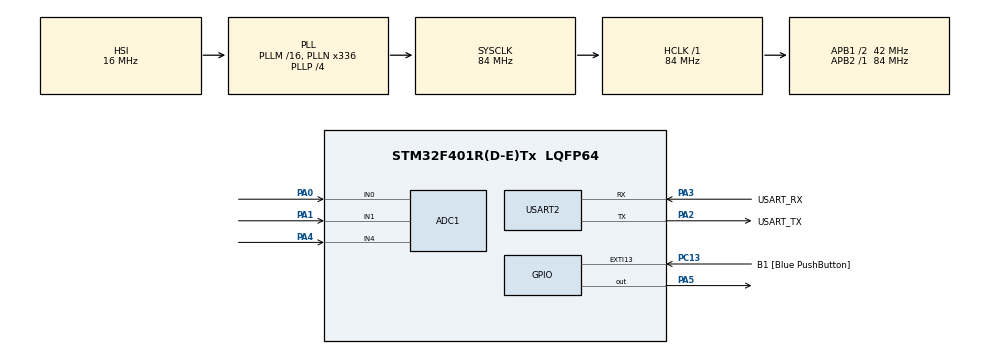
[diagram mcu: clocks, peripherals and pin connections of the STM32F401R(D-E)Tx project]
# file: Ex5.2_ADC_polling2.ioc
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ADC1.Channel-1\#ChannelRegularConversion=ADC_CHANNEL_0
ADC1.Channel-2\#ChannelRegularConversion=ADC_CHANNEL_0
ADC1.Channel-3\#ChannelRegularConversion=ADC_CHANNEL_0
ADC1.ContinuousConvMode=ENABLE
ADC1.NbrOfConversion=3
ADC1.NbrOfConversionFlag=1
ADC1.Rank-1\#ChannelRegularConversion=1
ADC1.Rank-2\#ChannelRegularConversion=2
ADC1.Rank-3\#ChannelRegularConversion=3
ADC1.SamplingTime-1\#ChannelRegularConversion=ADC_SAMPLETIME_84CYCLES
ADC1.SamplingTime-2\#ChannelRegularConversion=ADC_SAMPLETIME_84CYCLES
ADC1.SamplingTime-3\#ChannelRegularConversion=ADC_SAMPLETIME_84CYCLES
ADC1.ScanConvMode=ENABLE
ADC1.master=1
Mcu.Family=STM32F4
Mcu.Name=STM32F401R(D-E)Tx
Mcu.Package=LQFP64
NVIC.PriorityGroup=NVIC_PRIORITYGROUP_4
PA0-WKUP.Signal=ADCx_IN0
PA1.Signal=ADCx_IN1
PA13.GPIO_Label=TMS
PA13.Mode=Trace_Asynchronous_SW
PA13.Signal=SYS_JTMS-SWDIO
PA14.GPIO_Label=TCK
PA14.Mode=Trace_Asynchronous_SW
PA14.Signal=SYS_JTCK-SWCLK
PA2.GPIO_Label=USART_TX
PA2.GPIO_Mode=GPIO_MODE_AF_PP
PA2.GPIO_PuPd=GPIO_NOPULL
PA2.GPIO_Speed=GPIO_SPEED_FREQ_LOW
PA2.Mode=Asynchronous
PA2.Signal=USART2_TX
PA3.GPIO_Label=USART_RX
PA3.GPIO_Mode=GPIO_MODE_AF_PP
PA3.GPIO_PuPd=GPIO_NOPULL
PA3.GPIO_Speed=GPIO_SPEED_FREQ_LOW
PA3.Mode=Asynchronous
PA3.Signal=USART2_RX
PA4.Signal=ADCx_IN4
PA5.Signal=GPIO_Output
PB3.GPIO_Label=SWO
PB3.Mode=Trace_Asynchronous_SW
PB3.Signal=SYS_JTDO-SWO
PC13-ANTI_TAMP.GPIO_Label=B1 [Blue PushButton]
PC13-ANTI_TAMP.GPIO_ModeDefaultEXTI=GPIO_MODE_IT_FALLING
PC13-ANTI_TAMP.GPIO_PuPd=GPIO_NOPULL
PC13-ANTI_TAMP.Signal=GPXTI13
PC14-OSC32_IN.Mode=LSE-External-Oscillator
PC14-OSC32_IN.Signal=RCC_OSC32_IN
PC15-OSC32_OUT.Mode=LSE-External-Oscillator
PC15-OSC32_OUT.Signal=RCC_OSC32_OUT
PH0\ -\ OSC_IN.Mode=HSE-External-Clock-Source
PH0\ -\ OSC_IN.Signal=RCC_OSC_IN
PH1\ -\ OSC_OUT.Mode=HSE-External-Clock-Source
PH1\ -\ OSC_OUT.Signal=RCC_OSC_OUT
ProjectManager.HeapSize=0x200
ProjectManager.StackSize=0x400
ProjectManager.TargetToolchain=STM32CubeIDE
RCC.48MHZClocksFreq_Value=48000000
RCC.AHBFreq_Value=84000000
RCC.APB1CLKDivider=RCC_HCLK_DIV2
RCC.APB1Freq_Value=42000000
RCC.APB1TimFreq_Value=84000000
RCC.APB2Freq_Value=84000000
RCC.APB2TimFreq_Value=84000000
RCC.CortexFreq_Value=84000000
RCC.HCLKFreq_Value=84000000
RCC.HSE_VALUE=8000000
RCC.HSI_VALUE=16000000
RCC.PLLN=336
RCC.PLLP=RCC_PLLP_DIV4
RCC.PLLQ=7
RCC.SYSCLKFreq_VALUE=84000000
RCC.SYSCLKSource=RCC_SYSCLKSOURCE_PLLCLK
RCC.VCOOutputFreq_Value=336000000
SH.ADCx_IN0.0=ADC1_IN0,IN0
SH.ADCx_IN1.0=ADC1_IN1,IN1
SH.ADCx_IN4.0=ADC1_IN4,IN4
USART2.VirtualMode=VM_ASYNC
board=NUCLEO-F401RE

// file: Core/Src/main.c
/* USER CODE BEGIN Header */
/**
  ******************************************************************************
  * @file           : main.c
  * @brief          : Main program body
  ******************************************************************************
  * @attention
  *
  * Copyright (c) 2026 STMicroelectronics.
  * All rights reserved.
  *
  * This software is licensed under terms that can be found in the LICENSE file
  * in the root directory of this software component.
  * If no LICENSE file comes with this software, it is provided AS-IS.
  *
  ******************************************************************************
  */
/* USER CODE END Header */
#include "main.h"
#include <stdio.h>

ADC_HandleTypeDef hadc1;

UART_HandleTypeDef huart2;

void SystemClock_Config(void);
static void MX_GPIO_Init(void);
static void MX_USART2_UART_Init(void);
static void MX_ADC1_Init(void);
/* USER CODE BEGIN PFP */
ADC_ChannelConfTypeDef sConfig = {0};
/* USER CODE END PFP */

/* USER CODE BEGIN 0 */
uint32_t adc[3];
float volt[3];

int __io_putchar(int ch)
{
HAL_UART_Transmit(&huart2, (uint8_t *)&ch, 1, 0xFFFF);
return ch;
}

uint32_t Adc_Channel0(void){
	uint32_t Temp_Adc;
		sConfig.Channel = ADC_CHANNEL_0;
		sConfig.Rank = 1;
		sConfig.SamplingTime = ADC_SAMPLETIME_84CYCLES;
		if(HAL_ADC_ConfigChannel(&hadc1, &sConfig) != HAL_OK)
		{
			Error_Handler();
		}
		HAL_ADC_Start(&hadc1);
		HAL_ADC_PollForConversion(&hadc1, 100);
		Temp_Adc=HAL_ADC_GetValue(&hadc1);
		HAL_ADC_Stop(&hadc1);
		return Temp_Adc;
}
uint32_t Adc_Channel1(void){
	uint32_t Temp_Adc;
		sConfig.Channel = ADC_CHANNEL_1;
		sConfig.Rank = 1;
		sConfig.SamplingTime = ADC_SAMPLETIME_84CYCLES;
		if(HAL_ADC_ConfigChannel(&hadc1, &sConfig) != HAL_OK)
		{
			Error_Handler();
		}
		HAL_ADC_Start(&hadc1);
		HAL_ADC_PollForConversion(&hadc1, 100);
		Temp_Adc=HAL_ADC_GetValue(&hadc1);
		HAL_ADC_Stop(&hadc1);
		return Temp_Adc;
}
uint32_t Adc_Channel4(void){
	uint32_t Temp_Adc;
		sConfig.Channel = ADC_CHANNEL_4;
		sConfig.Rank = 1;
		sConfig.SamplingTime = ADC_SAMPLETIME_84CYCLES;
		if(HAL_ADC_ConfigChannel(&hadc1, &sConfig) != HAL_OK)
		{
			Error_Handler();
		}
		HAL_ADC_Start(&hadc1);
		HAL_ADC_PollForConversion(&hadc1, 100);
		Temp_Adc=HAL_ADC_GetValue(&hadc1);
		HAL_ADC_Stop(&hadc1);
		return Temp_Adc;
}
/* USER CODE END 0 */

int main(void)
{

  /* MCU Configuration--------------------------------------------------------*/

  /* Reset of all peripherals, Initializes the Flash interface and the Systick. */
  HAL_Init();

  /* Configure the system clock */
  SystemClock_Config();

  /* Initialize all configured peripherals */
  MX_GPIO_Init();
  MX_USART2_UART_Init();
  MX_ADC1_Init();

  /* Infinite loop */
  /* USER CODE BEGIN WHILE */

  while (1)
  {
	  adc[0]=Adc_Channel0();
	  adc[1]=Adc_Channel1();
	  adc[2]=Adc_Channel4();

	  volt[0]=(float)adc[0]*3.3/4096.0;
	  volt[1]=(float)adc[1]*3.3/4096.0;
	  volt[2]=(float)adc[2]*3.3/4096.0;

	  printf("Volt[0]=%f, Volt[1]=%f, Volt[2]=%f\r\n", volt[0], volt[1], volt[2]);
	  HAL_Delay(100);
    /* USER CODE END WHILE */

  }
}

void SystemClock_Config(void)
{
  RCC_OscInitTypeDef RCC_OscInitStruct = {0};
  RCC_ClkInitTypeDef RCC_ClkInitStruct = {0};

  /** Configure the main internal regulator output voltage
  */
  __HAL_RCC_PWR_CLK_ENABLE();
  __HAL_PWR_VOLTAGESCALING_CONFIG(PWR_REGULATOR_VOLTAGE_SCALE2);

  /** Initializes the RCC Oscillators according to the specified parameters
  * in the RCC_OscInitTypeDef structure.
  */
  RCC_OscInitStruct.OscillatorType = RCC_OSCILLATORTYPE_HSI;
  RCC_OscInitStruct.HSIState = RCC_HSI_ON;
  RCC_OscInitStruct.HSICalibrationValue = RCC_HSICALIBRATION_DEFAULT;
  RCC_OscInitStruct.PLL.PLLState = RCC_PLL_ON;
  RCC_OscInitStruct.PLL.PLLSource = RCC_PLLSOURCE_HSI;
  RCC_OscInitStruct.PLL.PLLM = 16;
  RCC_OscInitStruct.PLL.PLLN = 336;
  RCC_OscInitStruct.PLL.PLLP = RCC_PLLP_DIV4;
  RCC_OscInitStruct.PLL.PLLQ = 7;
  if (HAL_RCC_OscConfig(&RCC_OscInitStruct) != HAL_OK)
  {
    Error_Handler();
  }

  /** Initializes the CPU, AHB and APB buses clocks
  */
  RCC_ClkInitStruct.ClockType = RCC_CLOCKTYPE_HCLK|RCC_CLOCKTYPE_SYSCLK
                              |RCC_CLOCKTYPE_PCLK1|RCC_CLOCKTYPE_PCLK2;
  RCC_ClkInitStruct.SYSCLKSource = RCC_SYSCLKSOURCE_PLLCLK;
  RCC_ClkInitStruct.AHBCLKDivider = RCC_SYSCLK_DIV1;
  RCC_ClkInitStruct.APB1CLKDivider = RCC_HCLK_DIV2;
  RCC_ClkInitStruct.APB2CLKDivider = RCC_HCLK_DIV1;

  if (HAL_RCC_ClockConfig(&RCC_ClkInitStruct, FLASH_LATENCY_2) != HAL_OK)
  {
    Error_Handler();
  }
}

static void MX_ADC1_Init(void)
{

  /** Configure the global features of the ADC (Clock, Resolution, Data Alignment and number of conversion)
  */
  hadc1.Instance = ADC1;
  hadc1.Init.ClockPrescaler = ADC_CLOCK_SYNC_PCLK_DIV4;
  hadc1.Init.Resolution = ADC_RESOLUTION_12B;
  hadc1.Init.ScanConvMode = ENABLE;
  hadc1.Init.ContinuousConvMode = ENABLE;
  hadc1.Init.DiscontinuousConvMode = DISABLE;
  hadc1.Init.ExternalTrigConvEdge = ADC_EXTERNALTRIGCONVEDGE_NONE;
  hadc1.Init.ExternalTrigConv = ADC_SOFTWARE_START;
  hadc1.Init.DataAlign = ADC_DATAALIGN_RIGHT;
  hadc1.Init.NbrOfConversion = 3;
  hadc1.Init.DMAContinuousRequests = DISABLE;
  hadc1.Init.EOCSelection = ADC_EOC_SINGLE_CONV;
  if (HAL_ADC_Init(&hadc1) != HAL_OK)
  {
    Error_Handler();
  }

  /** Configure for the selected ADC regular channel its corresponding rank in the sequencer and its sample time.
  */

  /** Configure for the selected ADC regular channel its corresponding rank in the sequencer and its sample time.
  */

  /** Configure for the selected ADC regular channel its corresponding rank in the sequencer and its sample time.
  */

}

static void MX_USART2_UART_Init(void)
{

  huart2.Instance = USART2;
  huart2.Init.BaudRate = 115200;
  huart2.Init.WordLength = UART_WORDLENGTH_8B;
  huart2.Init.StopBits = UART_STOPBITS_1;
  huart2.Init.Parity = UART_PARITY_NONE;
  huart2.Init.Mode = UART_MODE_TX_RX;
  huart2.Init.HwFlowCtl = UART_HWCONTROL_NONE;
  huart2.Init.OverSampling = UART_OVERSAMPLING_16;
  if (HAL_UART_Init(&huart2) != HAL_OK)
  {
    Error_Handler();
  }

}

static void MX_GPIO_Init(void)
{
  GPIO_InitTypeDef GPIO_InitStruct = {0};

  /* GPIO Ports Clock Enable */
  __HAL_RCC_GPIOC_CLK_ENABLE();
  __HAL_RCC_GPIOH_CLK_ENABLE();
  __HAL_RCC_GPIOA_CLK_ENABLE();
  __HAL_RCC_GPIOB_CLK_ENABLE();

  /*Configure GPIO pin Output Level */
  HAL_GPIO_WritePin(GPIOA, GPIO_PIN_5, GPIO_PIN_RESET);

  /*Configure GPIO pin : B1_Pin */
  GPIO_InitStruct.Pin = B1_Pin;
  GPIO_InitStruct.Mode = GPIO_MODE_IT_FALLING;
  GPIO_InitStruct.Pull = GPIO_NOPULL;
  HAL_GPIO_Init(B1_GPIO_Port, &GPIO_InitStruct);

  /*Configure GPIO pin : PA5 */
  GPIO_InitStruct.Pin = GPIO_PIN_5;
  GPIO_InitStruct.Mode = GPIO_MODE_OUTPUT_PP;
  GPIO_InitStruct.Pull = GPIO_NOPULL;
  GPIO_InitStruct.Speed = GPIO_SPEED_FREQ_LOW;
  HAL_GPIO_Init(GPIOA, &GPIO_InitStruct);

}

void Error_Handler(void)
{
  __disable_irq();
  while (1)
  {
  }
}
